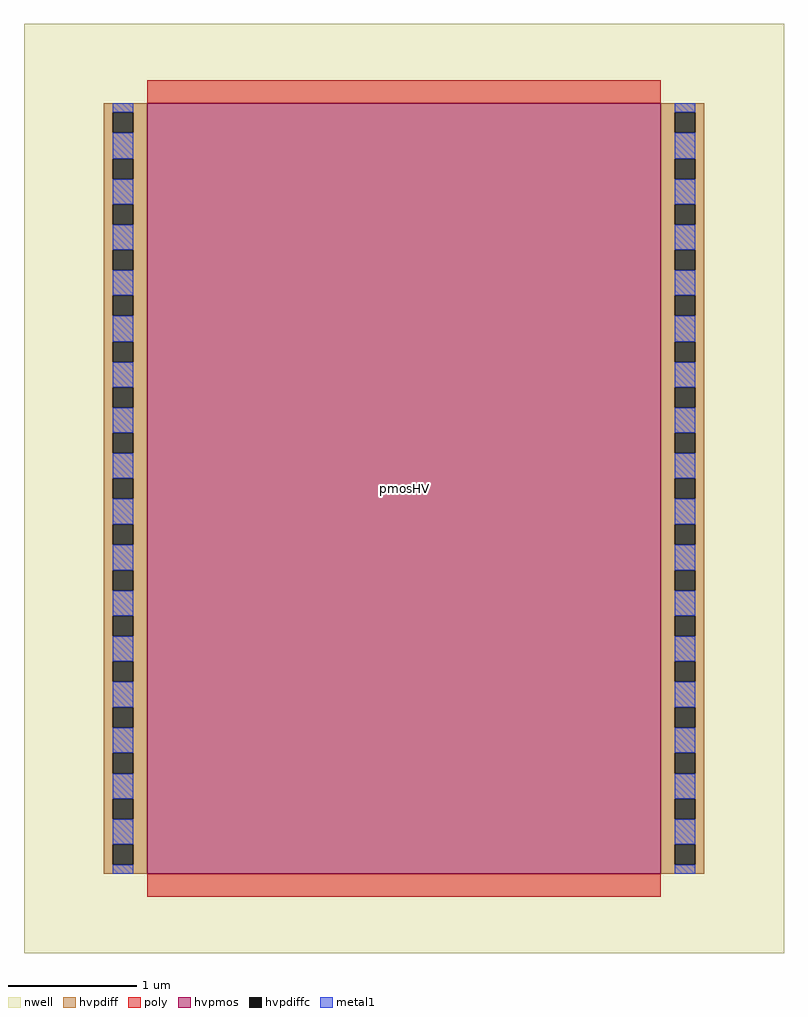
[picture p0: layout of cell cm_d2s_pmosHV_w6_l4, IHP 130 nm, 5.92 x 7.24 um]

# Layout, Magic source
magic
tech ihp-sg13cmos5l
magscale 1 2
<< nwell >>
rect -124 -124 1060 1324
<< hvpmos >>
rect 68 0 868 1200
<< hvpdiff >>
rect 0 1186 68 1200
rect 0 1154 14 1186
rect 46 1154 68 1186
rect 0 1114 68 1154
rect 0 1082 14 1114
rect 46 1082 68 1114
rect 0 1043 68 1082
rect 0 1011 14 1043
rect 46 1011 68 1043
rect 0 972 68 1011
rect 0 940 14 972
rect 46 940 68 972
rect 0 901 68 940
rect 0 869 14 901
rect 46 869 68 901
rect 0 829 68 869
rect 0 797 14 829
rect 46 797 68 829
rect 0 758 68 797
rect 0 726 14 758
rect 46 726 68 758
rect 0 687 68 726
rect 0 655 14 687
rect 46 655 68 687
rect 0 616 68 655
rect 0 584 14 616
rect 46 584 68 616
rect 0 544 68 584
rect 0 512 14 544
rect 46 512 68 544
rect 0 473 68 512
rect 0 441 14 473
rect 46 441 68 473
rect 0 402 68 441
rect 0 370 14 402
rect 46 370 68 402
rect 0 331 68 370
rect 0 299 14 331
rect 46 299 68 331
rect 0 259 68 299
rect 0 227 14 259
rect 46 227 68 259
rect 0 188 68 227
rect 0 156 14 188
rect 46 156 68 188
rect 0 117 68 156
rect 0 85 14 117
rect 46 85 68 117
rect 0 46 68 85
rect 0 14 14 46
rect 46 14 68 46
rect 0 0 68 14
rect 868 1186 936 1200
rect 868 1154 890 1186
rect 922 1154 936 1186
rect 868 1114 936 1154
rect 868 1082 890 1114
rect 922 1082 936 1114
rect 868 1043 936 1082
rect 868 1011 890 1043
rect 922 1011 936 1043
rect 868 972 936 1011
rect 868 940 890 972
rect 922 940 936 972
rect 868 901 936 940
rect 868 869 890 901
rect 922 869 936 901
rect 868 829 936 869
rect 868 797 890 829
rect 922 797 936 829
rect 868 758 936 797
rect 868 726 890 758
rect 922 726 936 758
rect 868 687 936 726
rect 868 655 890 687
rect 922 655 936 687
rect 868 616 936 655
rect 868 584 890 616
rect 922 584 936 616
rect 868 544 936 584
rect 868 512 890 544
rect 922 512 936 544
rect 868 473 936 512
rect 868 441 890 473
rect 922 441 936 473
rect 868 402 936 441
rect 868 370 890 402
rect 922 370 936 402
rect 868 331 936 370
rect 868 299 890 331
rect 922 299 936 331
rect 868 259 936 299
rect 868 227 890 259
rect 922 227 936 259
rect 868 188 936 227
rect 868 156 890 188
rect 922 156 936 188
rect 868 117 936 156
rect 868 85 890 117
rect 922 85 936 117
rect 868 46 936 85
rect 868 14 890 46
rect 922 14 936 46
rect 868 0 936 14
<< hvpdiffc >>
rect 14 1154 46 1186
rect 14 1082 46 1114
rect 14 1011 46 1043
rect 14 940 46 972
rect 14 869 46 901
rect 14 797 46 829
rect 14 726 46 758
rect 14 655 46 687
rect 14 584 46 616
rect 14 512 46 544
rect 14 441 46 473
rect 14 370 46 402
rect 14 299 46 331
rect 14 227 46 259
rect 14 156 46 188
rect 14 85 46 117
rect 14 14 46 46
rect 890 1154 922 1186
rect 890 1082 922 1114
rect 890 1011 922 1043
rect 890 940 922 972
rect 890 869 922 901
rect 890 797 922 829
rect 890 726 922 758
rect 890 655 922 687
rect 890 584 922 616
rect 890 512 922 544
rect 890 441 922 473
rect 890 370 922 402
rect 890 299 922 331
rect 890 227 922 259
rect 890 156 922 188
rect 890 85 922 117
rect 890 14 922 46
<< poly >>
rect 68 1200 868 1236
rect 68 -36 868 0
<< metal1 >>
rect 14 1186 46 1200
rect 14 1114 46 1154
rect 14 1043 46 1082
rect 14 972 46 1011
rect 14 901 46 940
rect 14 829 46 869
rect 14 758 46 797
rect 14 687 46 726
rect 14 616 46 655
rect 14 544 46 584
rect 14 473 46 512
rect 14 402 46 441
rect 14 331 46 370
rect 14 259 46 299
rect 14 188 46 227
rect 14 117 46 156
rect 14 46 46 85
rect 14 0 46 14
rect 890 1186 922 1200
rect 890 1114 922 1154
rect 890 1043 922 1082
rect 890 972 922 1011
rect 890 901 922 940
rect 890 829 922 869
rect 890 758 922 797
rect 890 687 922 726
rect 890 616 922 655
rect 890 544 922 584
rect 890 473 922 512
rect 890 402 922 441
rect 890 331 922 370
rect 890 259 922 299
rect 890 188 922 227
rect 890 117 922 156
rect 890 46 922 85
rect 890 0 922 14
<< labels >>
flabel comment s 468 600 468 600 0 FreeSans 200 90 0 0 pmosHV
<< properties >>
string GDS_END 18210
string GDS_FILE custom_io/gds/sg13cmos5l_IOPadDiff2Single.uniq.gds
string GDS_START 15056
<< end >>
